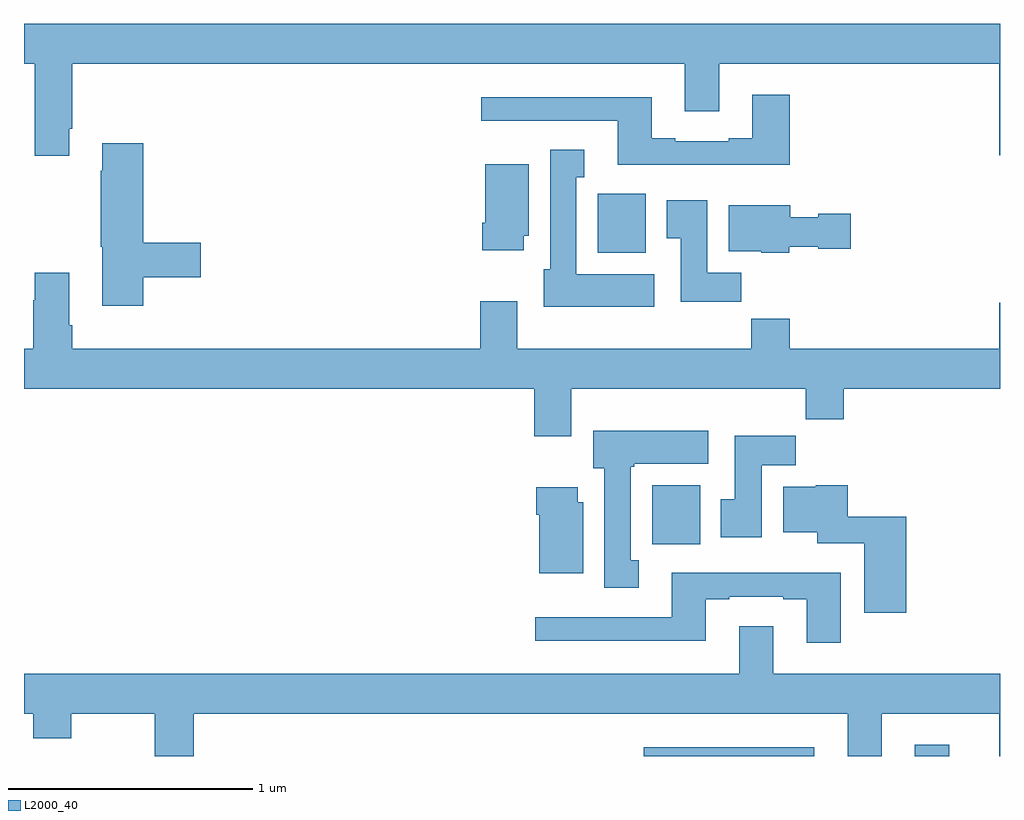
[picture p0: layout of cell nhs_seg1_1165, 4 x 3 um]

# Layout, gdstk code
import gdstk
lib = gdstk.Library(unit=1e-6, precision=1e-09)
def R(c, l, rs):  # rectangles x0, y0, x1, y1
    for r in rs: c.add(gdstk.rectangle(r[:2], r[2:], *l))
def P(c, l, *ps):  # polygons
    for p in ps: c.add(gdstk.Polygon(p, *l))
L2000_40 = (2000, 40)

nhs_seg1_1165 = lib.new_cell('nhs_seg1_1165')
R(nhs_seg1_1165, L2000_40, [(175.539,578.199,176.239,578.236), (176.651,578.199,176.791,578.245), (175.574,579.068,175.771,579.31), (175.352,580.262,175.549,580.504)])
P(nhs_seg1_1165, L2000_40, [(173.185,580.771),(173.198,580.771),(173.198,581.036),(175.709,581.036),(175.709,580.842),(175.849,580.842),(175.849,581.036),(176.996,581.036),(176.996,580.662),(177,580.662),(177,581.2),(173,581.2),(173,581.036),(173.045,581.036),(173.045,580.659),(173.185,580.659)],
  [(176.138,580.909),(175.985,580.909),(175.985,580.732),(175.889,580.732),(175.889,580.719),(175.669,580.719),(175.669,580.732),(175.573,580.732),(175.573,580.9),(174.873,580.9),(174.873,580.803),(175.433,580.803),(175.433,580.622),(176.138,580.622)],
  [(173.489,580.162),(173.725,580.162),(173.725,580.304),(173.489,580.304),(173.489,580.711),(173.321,580.711),(173.321,580.598),(173.314,580.598),(173.314,580.287),(173.321,580.287),(173.321,580.044),(173.489,580.044)],
  [(175.582,580.174),(175.264,580.174),(175.264,580.571),(175.297,580.571),(175.297,580.684),(175.157,580.684),(175.157,580.194),(175.13,580.194),(175.13,580.04),(175.582,580.04)],
  [(175.048,580.332),(175.069,580.332),(175.069,580.624),(174.89,580.624),(174.89,580.384),(174.878,580.384),(174.878,580.272),(175.048,580.272)],
  [(175.94,580.18),(175.801,580.18),(175.801,580.477),(175.634,580.477),(175.634,580.321),(175.691,580.321),(175.691,580.062),(175.94,580.062)],
  [(176.136,580.286),(176.256,580.286),(176.256,580.279),(176.389,580.279),(176.389,580.421),(176.256,580.421),(176.256,580.408),(176.14,580.408),(176.14,580.456),(175.889,580.456),(175.889,580.268),(176.022,580.268),(176.022,580.262),(176.136,580.262)],
  [(175.243,579.704),(176.203,579.704),(176.203,579.58),(176.36,579.58),(176.36,579.704),(177,579.704),(177,580.057),(176.996,580.057),(176.996,579.868),(176.138,579.868),(176.138,579.992),(175.981,579.992),(175.981,579.868),(175.021,579.868),(175.021,580.063),(174.869,580.063),(174.869,579.868),(173.198,579.868),(173.198,579.964),(173.185,579.964),(173.185,580.18),(173.045,580.18),(173.045,580.067),(173.038,580.067),(173.038,579.868),(173,579.868),(173,579.704),(175.091,579.704),(175.091,579.51),(175.243,579.51)],
  [(175.519,579.002),(175.486,579.002),(175.486,579.385),(175.5,579.385),(175.5,579.398),(175.804,579.398),(175.804,579.532),(175.334,579.532),(175.334,579.378),(175.379,579.378),(175.379,578.889),(175.519,578.889)],
  [(176.023,579.392),(176.162,579.392),(176.162,579.511),(175.913,579.511),(175.913,579.252),(175.856,579.252),(175.856,579.096),(176.023,579.096)],
  [(176.615,579.181),(176.375,579.181),(176.375,579.31),(176.244,579.31),(176.244,579.304),(176.111,579.304),(176.111,579.116),(176.252,579.116),(176.252,579.071),(176.444,579.071),(176.444,578.787),(176.615,578.787)],
  [(175.291,579.24),(175.27,579.24),(175.27,579.301),(175.1,579.301),(175.1,579.188),(175.112,579.188),(175.112,578.948),(175.291,578.948)],
  [(176.347,578.95),(175.655,578.95),(175.655,578.769),(175.095,578.769),(175.095,578.672),(175.795,578.672),(175.795,578.841),(175.891,578.841),(175.891,578.853),(176.111,578.853),(176.111,578.841),(176.207,578.841),(176.207,578.664),(176.347,578.664)],
  [(173.696,578.372),(176.375,578.372),(176.375,578.199),(176.515,578.199),(176.515,578.372),(176.996,578.372),(176.996,578.199),(177,578.199),(177,578.536),(176.071,578.536),(176.071,578.731),(175.931,578.731),(175.931,578.536),(173,578.536),(173,578.372),(173.038,578.372),(173.038,578.273),(173.193,578.273),(173.193,578.372),(173.536,578.372),(173.536,578.199),(173.696,578.199)])

lib.write_gds('nhs_seg1_1165.gds')
